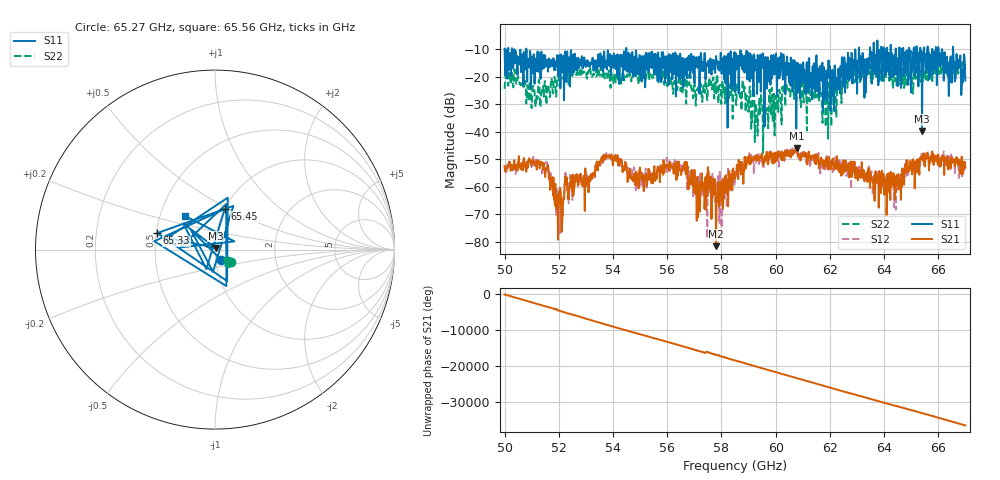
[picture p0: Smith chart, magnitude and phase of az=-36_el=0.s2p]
!Created with skrf (http://scikit-rf.org).
# GHz S RI R 50.0
!freq ReS11 ImS11 ReS21 ImS21 ReS12 ImS12 ReS22 ImS22
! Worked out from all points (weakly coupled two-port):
!   1001 points, 50 GHz to 67 GHz, reference 50 ohm
!   highest |S21| = -45.95 dB at 60.78 GHz (marker M1); lowest = -81.7 dB at 57.8 GHz (marker M2)
!   lowest |S11| = -39.9 dB at 65.4 GHz (marker M3), VSWR 1.02, Z = 50.4 + j0.949 ohm
!   |S11| at or under -10 dB: 50.27 GHz to 50.8 GHz (525.4 MHz wide, 1.04 % of centre); 50.8 GHz to 54.49 GHz (3.685 GHz wide, 7 % of centre); 54.49 GHz to 63.07 GHz (8.581 GHz wide, 14.6 % of centre) (the widest 3 of 29)
!   |S22| runs from -47.7 to -13.9 dB; largest |S21 - S12| = 0.0022
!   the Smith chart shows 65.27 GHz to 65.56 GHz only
!   S11 on the Smith chart (normalised r, x): 65.27 GHz: 1.06, -0.12; 65.33 GHz: 0.51, +0.10; 65.45 GHz: 1.00, +0.48; 65.56 GHz: 0.67, +0.27
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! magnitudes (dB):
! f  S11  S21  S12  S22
! 50 GHz  -9.8  -52.5  -53.0  -24.4
! 51.51 GHz  -16.3  -54.3  -54.6  -23.3
! 52.09 GHz  -11.9  -70.5  -73.3  -21.0
! 52.33 GHz  -18.1  -61.3  -64.3  -18.6
! 52.84 GHz  -13.4  -59.2  -59.0  -19.9
! 53.79 GHz  -14.3  -49.4  -48.3  -19.9
! 54.9 GHz  -13.7  -58.1  -57.3  -18.6
! 55.68 GHz  -13.6  -54.2  -53.7  -22.1
! 56.66 GHz  -13.5  -52.5  -52.8  -19.5
! 57.12 GHz  -14.0  -59.1  -65.1  -25.1
! 57.8 GHz  -12.6  -81.7  -61.6  -26.1
! 58.5 GHz  -25.3  -56.6  -54.6  -23.9
! 59.32 GHz  -26.3  -50.4  -50.6  -33.4
! 60.78 GHz  -14.9  -46.0  -46.8  -26.2
! 61.34 GHz  -28.3  -49.5  -48.8  -26.3
! 64.18 GHz  -19.2  -55.7  -56.4  -18.4
! 65.27 GHz  -23.6  -51.0  -50.2  -19.0
! 65.33 GHz  -9.5  -49.4  -51.9  -18.9
! 65.4 GHz  -39.9  -49.7  -50.2  -20.5
! 65.45 GHz  -12.7  -50.8  -49.9  -17.9
! 65.56 GHz  -12.0  -49.8  -49.6  -21.1
! 67 GHz  -21.4  -53.1  -50.9  -15.4
